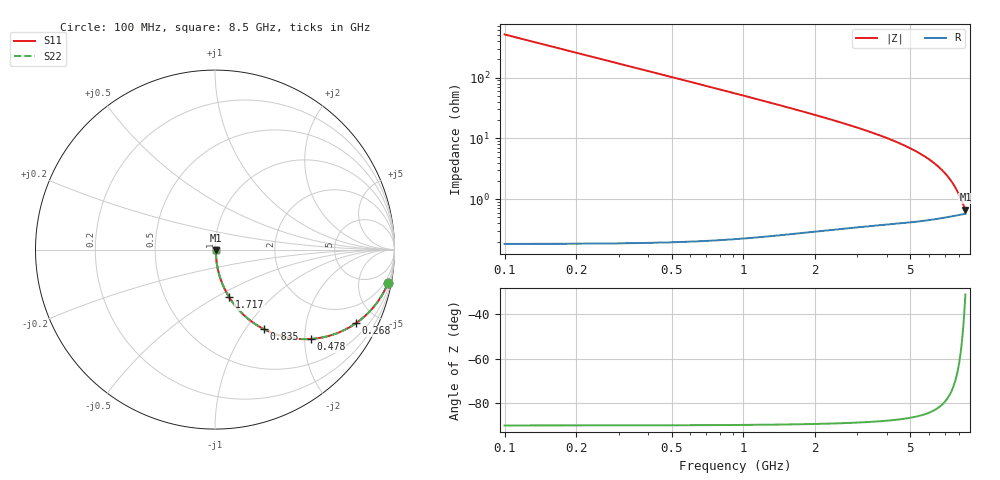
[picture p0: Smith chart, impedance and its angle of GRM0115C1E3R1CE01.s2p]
!Murata Part Number: GRM0115C1E3R1CE01
!These Parameters are Measured in Series Mode Connection
!Data Generated on Mar 30, 2021
!  o--ll--o
!Port1  Port2
!  o------o
!Operation Temp=25[degC], DC Bias Voltage=0[V]
!Freq. Start=100[MHz] Stop=9[GHz] 401[Steps]
# Hz S RI R 50
!Freq.(Hz) S11(Real) S11(Imag) S21(Real) S21(Imag) S12(Real) S12(Imag) S22(Real) S22(Imag)
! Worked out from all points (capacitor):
!   401 points, 100 MHz to 8.5 GHz, reference 50 ohm
!   read as one part in series: C = 3.1 pF near 142 MHz
!   lowest |Z| = 669 mohm at 8.5 GHz (marker M1)
!   S11 on the Smith chart (normalised r, x): 100 MHz: 1, -10; 268 MHz: 1.00, -3.83; 478 MHz: 1.00, -2.14; 835 MHz: 1.00, -1.22; 1.717 GHz: 1.01, -0.57; 8.5 GHz: 1.01, -0.01
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1e8  0.9634 -0.1877  0.0366 0.1877  0.0366 0.1877  0.9634 -0.1877
1.42e8  0.9288 -0.2569  0.0712 0.2569  0.0712 0.2569  0.9288 -0.2569
1.63e8  0.9082 -0.2884  0.0918 0.2884  0.0918 0.2884  0.9082 -0.2884
2.05e8  0.8622 -0.3444  0.1378 0.3444  0.1378 0.3444  0.8622 -0.3444
2.68e8  0.7853 -0.4102  0.2147 0.4102  0.2147 0.4102  0.7853 -0.4102
3.73e8  0.6534 -0.4752  0.3466 0.4752  0.3466 0.4752  0.6534 -0.4752
4.78e8  0.5339 -0.4979  0.4661 0.4979  0.4661 0.4979  0.5339 -0.4979
6.46e8  0.3844 -0.4852  0.6156 0.4852  0.6156 0.4852  0.3844 -0.4852
8.35e8  0.2709 -0.4427  0.7291 0.4427  0.7291 0.4427  0.2709 -0.4427
9.82e8  0.2109 -0.4058  0.7891 0.4058  0.7891 0.4058  0.2109 -0.4058
1.129e9  0.1674 -0.3707  0.8326 0.3707  0.8326 0.3707  0.1674 -0.3707
1.507e9  0.0998 -0.2959  0.9002 0.2959  0.9002 0.2959  0.0998 -0.2959
1.717e9  0.078 -0.2634  0.922 0.2634  0.922 0.2634  0.078 -0.2634
2.263e9  0.0452 -0.2005  0.9548 0.2005  0.9548 0.2005  0.0452 -0.2005
2.914e9  0.0268 -0.1509  0.9732 0.1509  0.9732 0.1509  0.0268 -0.1509
4.3e9  0.0118 -0.0883  0.9882 0.0883  0.9882 0.0883  0.0118 -0.0883
5.707e9  0.00693 -0.0504  0.9931 0.0504  0.9931 0.0504  0.00693 -0.0504
6.484e9  0.00591 -0.0347  0.9941 0.0347  0.9941 0.0347  0.00591 -0.0347
7.114e9  0.00556 -0.0237  0.9944 0.0237  0.9944 0.0237  0.00556 -0.0237
7.45e9  0.0055 -0.0184  0.9945 0.0184  0.9945 0.0184  0.0055 -0.0184
7.765e9  0.00551 -0.0136  0.9945 0.0136  0.9945 0.0136  0.00551 -0.0136
8.5e9  0.0057 -0.00343  0.9943 0.00343  0.9943 0.00343  0.0057 -0.00343
